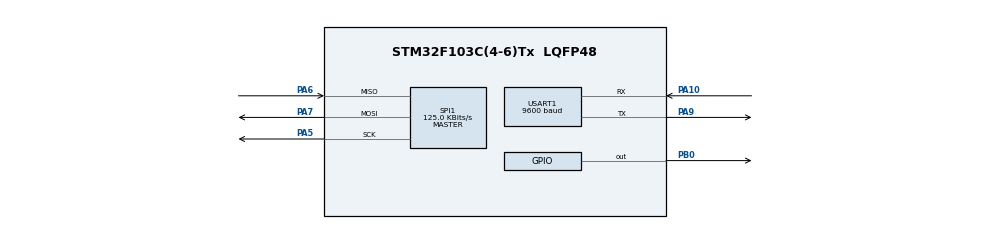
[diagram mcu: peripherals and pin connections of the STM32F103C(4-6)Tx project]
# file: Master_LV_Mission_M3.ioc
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Mcu.Family=STM32F1
Mcu.Name=STM32F103C(4-6)Tx
Mcu.Package=LQFP48
NVIC.PriorityGroup=NVIC_PRIORITYGROUP_4
PA10.Mode=Asynchronous
PA10.Signal=USART1_RX
PA5.Mode=Full_Duplex_Master
PA5.Signal=SPI1_SCK
PA6.Mode=Full_Duplex_Master
PA6.Signal=SPI1_MISO
PA7.Mode=Full_Duplex_Master
PA7.Signal=SPI1_MOSI
PA9.Mode=Asynchronous
PA9.Signal=USART1_TX
PB0.Signal=GPIO_Output
ProjectManager.HeapSize=0x200
ProjectManager.StackSize=0x400
ProjectManager.TargetToolchain=STM32CubeIDE
RCC.APB1Freq_Value=8000000
RCC.APB2Freq_Value=8000000
SPI1.BaudRatePrescaler=SPI_BAUDRATEPRESCALER_64
SPI1.CalculateBaudRate=125.0 KBits/s
SPI1.Direction=SPI_DIRECTION_2LINES
SPI1.Mode=SPI_MODE_MASTER
SPI1.VirtualType=VM_MASTER
USART1.BaudRate=9600
USART1.VirtualMode=VM_ASYNC
VP_SYS_VS_ND.Mode=No_Debug
board=custom

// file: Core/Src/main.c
/* USER CODE BEGIN Header */
/**
  ******************************************************************************
  * @file           : main.c
  * @brief          : Milestone 3 - SPI Master
  ******************************************************************************
  */
/* USER CODE END Header */
#include "main.h"
#include <string.h>
#include <stdio.h>

SPI_HandleTypeDef hspi1;
UART_HandleTypeDef huart1;

uint8_t rx_case;
uint8_t spi_tx_buffer[3];
uint8_t spi_rx_buffer[3];

uint32_t received_voltage;
uint32_t received_speed;

void SystemClock_Config(void);
static void MX_GPIO_Init(void);
static void MX_SPI1_Init(void);
static void MX_USART1_UART_Init(void);

void Process_Case(uint8_t case_number);
void Send_String(char *str);

void Send_String(char *str)
{
    HAL_UART_Transmit(&huart1, (uint8_t *)str, strlen(str), HAL_MAX_DELAY);
}

void Process_Case(uint8_t case_number)
{
    uint16_t case_id;

    if (case_number >= 1 && case_number <= 5)
    {
        case_id = 0x1000 + case_number;

        spi_tx_buffer[0] = (case_id >> 8) & 0xFF;
        spi_tx_buffer[1] = case_id & 0xFF;
        spi_tx_buffer[2] = 0x00;

        /* --- First transaction: sends the request, but the slave's
               reply here is still stale (from before it saw this ID) --- */
        HAL_GPIO_WritePin(GPIOB, GPIO_PIN_0, GPIO_PIN_RESET);
        HAL_SPI_TransmitReceive(&hspi1, spi_tx_buffer, spi_rx_buffer, 3, HAL_MAX_DELAY);
        HAL_GPIO_WritePin(GPIOB, GPIO_PIN_0, GPIO_PIN_SET);

        HAL_Delay(10);

        /* --- Second transaction: by now the slave has decoded the ID
               and pre-loaded the correct response --- */
        HAL_GPIO_WritePin(GPIOB, GPIO_PIN_0, GPIO_PIN_RESET);
        HAL_SPI_TransmitReceive(&hspi1, spi_tx_buffer, spi_rx_buffer, 3, HAL_MAX_DELAY);
        HAL_GPIO_WritePin(GPIOB, GPIO_PIN_0, GPIO_PIN_SET);

        uint32_t message =
            ((uint32_t)spi_rx_buffer[0] << 16) |
            ((uint32_t)spi_rx_buffer[1] << 8) |
            ((uint32_t)spi_rx_buffer[2]);

        received_voltage = (message >> 12) & 0xFFF;
        received_speed = message & 0xFFF;

        char buffer[100];
        sprintf(buffer,
                "\r\nCase ID: 0x%04X\r\nVoltage: %lu.%lu V\r\nWheel Speed: %lu km/h\r\n",
                case_id,
                received_voltage / 10,
                received_voltage % 10,
                received_speed);

        Send_String(buffer);
    }
    else
    {
        Send_String("\r\nInvalid Case! Enter 1 - 5.\r\n");
    }
}

int main(void)
{
    HAL_Init();
    SystemClock_Config();

    MX_GPIO_Init();
    MX_SPI1_Init();
    MX_USART1_UART_Init();

    /* USER CODE BEGIN WHILE */
    Send_String("\r\n==============================\r\n");
    Send_String("   Milestone 3 SPI Master\r\n");
    Send_String("==============================\r\n");
    Send_String("Enter Case ID (1-5):\r\n");

    while (1)
    {
        uint8_t input;

        if (HAL_UART_Receive(&huart1, &input, 1, HAL_MAX_DELAY) == HAL_OK)
        {
            if (input >= '1' && input <= '5')
            {
                rx_case = input - '0';

                HAL_UART_Transmit(&huart1, &input, 1, HAL_MAX_DELAY);
                Send_String("\r\n");

                Process_Case(rx_case);

                Send_String("\r\nEnter Case ID (1-5):\r\n");
            }
            else if (input == '\r' || input == '\n')
            {
                /* Ignore Enter key */
            }
            else
            {
                Send_String("\r\nInvalid input. Enter 1-5.\r\n");
            }
        }
        /* USER CODE END WHILE */

    }
}

void SystemClock_Config(void)
{
    RCC_OscInitTypeDef RCC_OscInitStruct = {0};
    RCC_ClkInitTypeDef RCC_ClkInitStruct = {0};

    RCC_OscInitStruct.OscillatorType = RCC_OSCILLATORTYPE_HSI;
    RCC_OscInitStruct.HSIState = RCC_HSI_ON;
    RCC_OscInitStruct.HSICalibrationValue = RCC_HSICALIBRATION_DEFAULT;
    RCC_OscInitStruct.PLL.PLLState = RCC_PLL_NONE;
    if (HAL_RCC_OscConfig(&RCC_OscInitStruct) != HAL_OK) Error_Handler();

    RCC_ClkInitStruct.ClockType = RCC_CLOCKTYPE_HCLK | RCC_CLOCKTYPE_SYSCLK
                                | RCC_CLOCKTYPE_PCLK1 | RCC_CLOCKTYPE_PCLK2;
    RCC_ClkInitStruct.SYSCLKSource = RCC_SYSCLKSOURCE_HSI;
    RCC_ClkInitStruct.AHBCLKDivider = RCC_SYSCLK_DIV1;
    RCC_ClkInitStruct.APB1CLKDivider = RCC_HCLK_DIV1;
    RCC_ClkInitStruct.APB2CLKDivider = RCC_HCLK_DIV1;
    if (HAL_RCC_ClockConfig(&RCC_ClkInitStruct, FLASH_LATENCY_0) != HAL_OK) Error_Handler();
}

static void MX_SPI1_Init(void)
{
    hspi1.Instance = SPI1;
    hspi1.Init.Mode = SPI_MODE_MASTER;
    hspi1.Init.Direction = SPI_DIRECTION_2LINES;
    hspi1.Init.DataSize = SPI_DATASIZE_8BIT;
    hspi1.Init.CLKPolarity = SPI_POLARITY_LOW;
    hspi1.Init.CLKPhase = SPI_PHASE_1EDGE;
    hspi1.Init.NSS = SPI_NSS_SOFT;
    hspi1.Init.BaudRatePrescaler = SPI_BAUDRATEPRESCALER_64;
    hspi1.Init.FirstBit = SPI_FIRSTBIT_MSB;
    hspi1.Init.TIMode = SPI_TIMODE_DISABLE;
    hspi1.Init.CRCCalculation = SPI_CRCCALCULATION_DISABLE;
    hspi1.Init.CRCPolynomial = 10;
    if (HAL_SPI_Init(&hspi1) != HAL_OK) Error_Handler();
}

static void MX_USART1_UART_Init(void)
{
    huart1.Instance = USART1;
    huart1.Init.BaudRate = 9600;
    huart1.Init.WordLength = UART_WORDLENGTH_8B;
    huart1.Init.StopBits = UART_STOPBITS_1;
    huart1.Init.Parity = UART_PARITY_NONE;
    huart1.Init.Mode = UART_MODE_TX_RX;
    huart1.Init.HwFlowCtl = UART_HWCONTROL_NONE;
    huart1.Init.OverSampling = UART_OVERSAMPLING_16;
    if (HAL_UART_Init(&huart1) != HAL_OK) Error_Handler();
}

static void MX_GPIO_Init(void)
{
    GPIO_InitTypeDef GPIO_InitStruct = {0};

    __HAL_RCC_GPIOA_CLK_ENABLE();
    __HAL_RCC_GPIOB_CLK_ENABLE();

    /* CS idle HIGH (deselected) until a transaction begins */
    HAL_GPIO_WritePin(GPIOB, GPIO_PIN_0, GPIO_PIN_SET);

    GPIO_InitStruct.Pin = GPIO_PIN_0;
    GPIO_InitStruct.Mode = GPIO_MODE_OUTPUT_PP;
    GPIO_InitStruct.Pull = GPIO_NOPULL;
    GPIO_InitStruct.Speed = GPIO_SPEED_FREQ_LOW;
    HAL_GPIO_Init(GPIOB, &GPIO_InitStruct);
}

void Error_Handler(void)
{
    __disable_irq();
    while (1) {}
}
